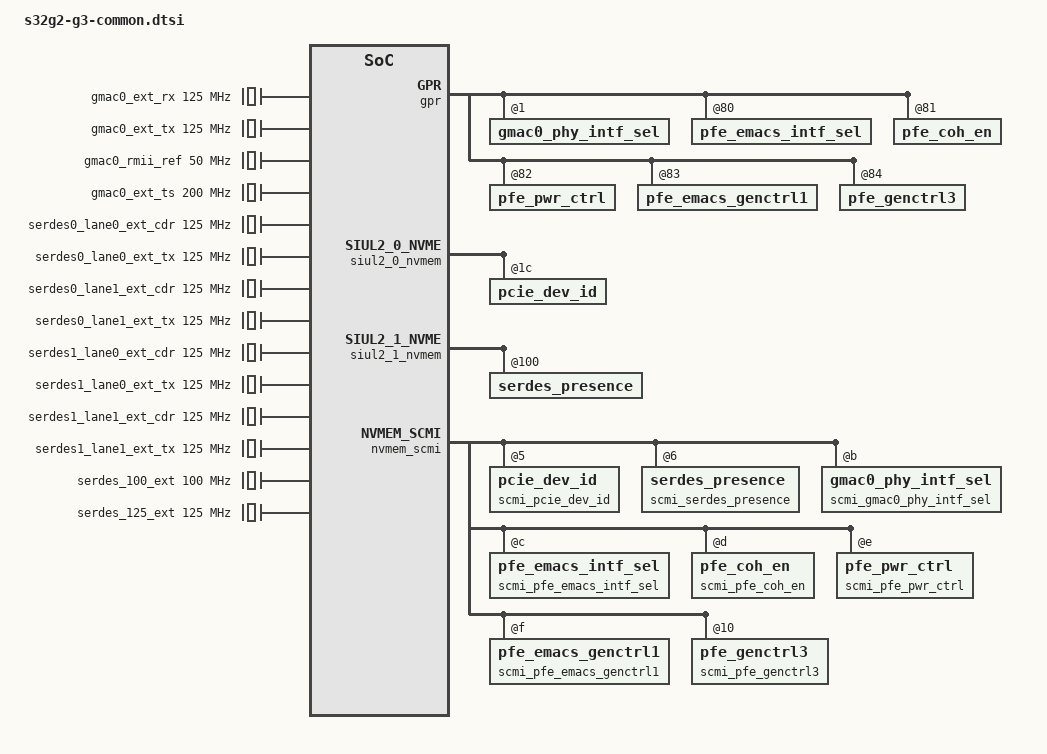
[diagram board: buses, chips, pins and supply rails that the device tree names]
// SPDX-License-Identifier: (GPL-2.0+ OR BSD-3-Clause)
/*
 * Umbrella device tree for S32G2 and S32G3 SoCs.
 *
 * It gathers the PCIe, SerDes and GMAC definitions that are common to
 * S32G2/S32G3 (and, replicated separately, S32R45/S32R47) but are not
 * present on S32G1. This allows S32G1 to include s32g.dtsi (and s32cc.dtsi)
 * without inheriting these unused peripherals.
 *
 * Copyright 2026 NXP
 */
#include <dt-bindings/nvmem/s32g2-g3-common-siul2-nvmem.h>
#include <dt-bindings/phy/phy.h>
#include <dt-bindings/reset/s32g2-g3-common-scmi-reset.h>

#include "s32g.dtsi"
/ {
	aliases {
		ethernet0 = &gmac0;
		serdes0 = &serdes0;
		serdes1 = &serdes1;
		pci0 = &pcie0;
		pci1 = &pcie1;
	};

	reserved-memory {
		#address-cells = <2>;
		#size-cells = <2>;
		ranges;

		/* 4Mb shared memory for PCIe shared mem transfers, EP mode */
		pci_shared_memory0: shm@c0000000 {
			compatible = "nxp,s32cc-shm";
			reg = <0x0 0xc0000000 0x0 0x400000>;    /* 4 MB */
			no-map;
		};

		pci_shared_memory1: shm@c0400000 {
			compatible = "nxp,s32cc-shm";
			reg = <0x0 0xc0400000 0x0 0x400000>;    /* 4 MB */
			no-map;
		};

		pfe_reserved: pfe_reserved@83400000 {
			reg = <0 0x83400000 0 0x8000>; /* 32K */
			no-map;
		};
	};

	clocks {
		gmac0_ext_rx: gmac0_ext_rx {
			compatible = "fixed-clock";
			clock-frequency = <125000000>;
			#clock-cells = <1>;
		};

		gmac0_ext_tx: gmac0_ext_tx {
			compatible = "fixed-clock";
			clock-frequency = <125000000>;
			#clock-cells = <1>;
		};

		gmac0_rmii_ref: gmac0_rmii_ref {
			compatible = "fixed-clock";
			clock-frequency = <50000000>;
			#clock-cells = <1>;
		};

		gmac0_ext_ts: gmac0_ext_ts {
			compatible = "fixed-clock";
			clock-frequency = <200000000>;
			#clock-cells = <1>;
		};

		serdes0_lane0_ext_cdr: serdes0_lane0_ext_cdr {
			compatible = "fixed-clock";
			clock-frequency = <125000000>;
			#clock-cells = <1>;
		};

		serdes0_lane0_ext_tx: serdes0_lane0_ext_tx {
			compatible = "fixed-clock";
			clock-frequency = <125000000>;
			#clock-cells = <1>;
		};

		serdes0_lane1_ext_cdr: serdes0_lane1_ext_cdr {
			compatible = "fixed-clock";
			clock-frequency = <125000000>;
			#clock-cells = <1>;
		};

		serdes0_lane1_ext_tx: serdes0_lane1_ext_tx {
			compatible = "fixed-clock";
			clock-frequency = <125000000>;
			#clock-cells = <1>;
		};

		serdes1_lane0_ext_cdr: serdes1_lane0_ext_cdr {
			compatible = "fixed-clock";
			clock-frequency = <125000000>;
			#clock-cells = <1>;
		};

		serdes1_lane0_ext_tx: serdes1_lane0_ext_tx {
			compatible = "fixed-clock";
			clock-frequency = <125000000>;
			#clock-cells = <1>;
		};

		serdes1_lane1_ext_cdr: serdes1_lane1_ext_cdr {
			compatible = "fixed-clock";
			clock-frequency = <125000000>;
			#clock-cells = <1>;
		};

		serdes1_lane1_ext_tx: serdes1_lane1_ext_tx {
			compatible = "fixed-clock";
			clock-frequency = <125000000>;
			#clock-cells = <1>;
		};

		pfe_mac0_rmii: pfe_mac0_rmii {
			compatible = "fixed-clock";
			/* Dummy frequency to avoid invalid freq when it's set on 0 */
			clock-frequency = <1>;
			#clock-cells = <1>;
		};

		pfe_mac1_rmii: pfe_mac1_rmii {
			compatible = "fixed-clock";
			clock-frequency = <1>;
			#clock-cells = <1>;
		};

		pfe_mac2_rmii: pfe_mac2_rmii {
			compatible = "fixed-clock";
			clock-frequency = <1>;
			#clock-cells = <1>;
		};

		serdes_100_ext: serdes_100_ext {
			compatible = "fixed-clock";
			clock-frequency = <100000000>;
			#clock-cells = <0>;
		};

		serdes_125_ext: serdes_125_ext {
			compatible = "fixed-clock";
			clock-frequency = <125000000>;
			#clock-cells = <0>;
		};
	};

	soc {
		gmac0: ethernet@4033c000 {
			compatible = "nxp,s32cc-dwmac";
			reg = <0x0 0x4033c000 0x0 0x2000>; /* gmac IP */
			interrupt-parent = <&gic>;
			interrupts = <GIC_SPI 57 IRQ_TYPE_LEVEL_HIGH>;
			interrupt-names = "macirq";
			tx-fifo-depth = <20480>;
			rx-fifo-depth = <20480>;
			status = "disabled";
			phy-names = "gmac_xpcs";
			phys = <&serdes0 PHY_TYPE_XPCS 0 0>;
			dma-coherent;
			clocks = <&clks S32CC_SCMI_CLK_GMAC0_AXI>,
				 <&clks S32CC_SCMI_CLK_GMAC0_AXI>,
				 <&clks S32CC_SCMI_CLK_GMAC0_TX_SGMII>,
				 <&clks S32CC_SCMI_CLK_GMAC0_TX_RGMII>,
				 <&clks S32CC_SCMI_CLK_GMAC0_TX_RMII>,
				 <&clks S32CC_SCMI_CLK_GMAC0_TX_MII>,
				 <&clks S32CC_SCMI_CLK_GMAC0_RX_SGMII>,
				 <&clks S32CC_SCMI_CLK_GMAC0_RX_RGMII>,
				 <&clks S32CC_SCMI_CLK_GMAC0_RX_RMII>,
				 <&clks S32CC_SCMI_CLK_GMAC0_RX_MII>,
				 <&clks S32CC_SCMI_CLK_GMAC0_TS>;
			clock-names = "stmmaceth", "pclk",
				      "tx_sgmii", "tx_rgmii",
				      "tx_rmii", "tx_mii",
				      "rx_sgmii", "rx_rgmii",
				      "rx_rmii", "rx_mii",
				      "ptp_ref";
			nvmem-cells = <&gmac0_phy_intf_sel>;
			nvmem-cell-names = "gmac_phy_intf_sel";
			#address-cells = <1>;
			#size-cells = <0>;

			gmac0_mdio: mdio@4033c200 {
				#address-cells = <1>;
				#size-cells = <0>;
				compatible = "snps,dwmac-mdio";
				reg = <0x4033c200>;
			};
		};

		pcie0: pcie@40400000 {
			compatible = "nxp,s32cc-pcie";
			dma-coherent;
			phy-names = "serdes_lane0", "serdes_lane1";
			reg = <0x00 0x40400000 0x0 0x00001000>,   /* dbi registers */
			      <0x00 0x40420000 0x0 0x00001000>,   /* dbi2 registers */
			      <0x00 0x40460000 0x0 0x00001000>,   /* atu registers */
			      <0x00 0x40470000 0x0 0x00001000>,   /* dma registers */
			      <0x00 0x40481000 0x0 0x000000f8>,   /* ctrl registers */
			      /* RC configuration space, 4KB each for cfg0 and cfg1
			       * at the end of the outbound memory map
			       */
			      <0x5f 0xffffe000 0x0 0x00002000>,
			      /* 1GB EP addr space */
			      <0x58 0x00000000 0x0 0x40000000>;
			reg-names = "dbi", "dbi2", "atu", "dma", "ctrl",
				    "config", "addr_space";
			#address-cells = <3>;
			#size-cells = <2>;

			device_type = "pci";
			device_id = <0>;

			nxp,phy-mode = "crns";
			num-lanes = <2>;

			nvmem-cell-names = "serdes_presence", "pcie_dev_id";
			nvmem-cells = <&serdes_presence>, <&pcie_dev_id>;

			/* Root Complex */
			bus-range = <0x0 0xff>;
			ranges =
				/* downstream I/O, 64KB and aligned naturally just
				 * before the config space to minimize fragmentation
				 */
				<0x81000000 0x0 0x00000000 0x5f 0xfffe0000 0x0 0x00010000>,
				/* non-prefetchable memory, with best case size and
				 * alignment
				 */
				<0x82000000 0x0 0x00000000 0x58 0x00000000 0x7 0xfffe0000>;

			interrupts =  <GIC_SPI 124 IRQ_TYPE_LEVEL_HIGH>,
					<GIC_SPI 123 IRQ_TYPE_LEVEL_HIGH>,
					<GIC_SPI 125 IRQ_TYPE_LEVEL_HIGH>,
					<GIC_SPI 126 IRQ_TYPE_LEVEL_HIGH>,
					<GIC_SPI 127 IRQ_TYPE_LEVEL_HIGH>,
					<GIC_SPI 132 IRQ_TYPE_LEVEL_HIGH>,
					<GIC_SPI 133 IRQ_TYPE_LEVEL_HIGH>,
					<GIC_SPI 134 IRQ_TYPE_LEVEL_HIGH>;
			interrupt-names = "link_req_stat", "dma", "msi",
						"phy_link_down", "phy_link_up", "misc",
						"pcs", "tlp_req_no_comp";
			#interrupt-cells = <1>;
			interrupt-map-mask = <0 0 0 0x7>;
			interrupt-map = <0 0 0 1 &gic 0 0 0 128 4>,
						<0 0 0 2 &gic 0 0 0 129 4>,
						<0 0 0 3 &gic 0 0 0 130 4>,
						<0 0 0 4 &gic 0 0 0 131 4>;
			msi-parent = <&gic>;

			/* End Point */
			shared-mem = <&pci_shared_memory0>;
			auto-config-bars;

			/* PCIe uses Serdes0 lanes 0 and 1 */
			phys = <&serdes0 0x02 0x00 XPCS_LANE0 &serdes0 0x02 0x00 XPCS_LANE1>;

			status = "disabled";
		};

		serdes0: serdes@40480000 {
			#phy-cells = <3>;
			compatible = "nxp,s32cc-serdes";
			clocks = <&clks S32CC_SCMI_CLK_SERDES_AXI>,
				 <&clks S32CC_SCMI_CLK_SERDES_AUX>,
				 <&clks S32CC_SCMI_CLK_SERDES_APB>,
				 <&clks S32CC_SCMI_CLK_SERDES_REF>;
			clock-names = "axi", "aux", "apb", "ref";
			resets = <&reset S32CC_SCMI_RST_SERDES0>,
				 <&reset S32CC_SCMI_RST_PCIE0>;
			reset-names = "serdes", "pcie";
			nxp,sys-mode = <0x0>;
			reg = <0x0 0x40480000 0x0 0x108>,
			      <0x0 0x40483008 0x0 0x10>,
			      <0x0 0x40482000 0x0 0x800>,
			      <0x0 0x40482800 0x0 0x800>;
			reg-names = "ss_pcie", "pcie_phy", "xpcs0", "xpcs1";
			status = "disabled";
		};

		pcie1: pcie@44100000 {
			compatible = "nxp,s32cc-pcie";
			dma-coherent;
			reg = <0x00 0x44100000 0x0 0x00001000>,   /* dbi registers */
			      <0x00 0x44120000 0x0 0x00001000>,   /* dbi2 registers */
			      <0x00 0x44160000 0x0 0x00001000>,   /* atu registers */
			      <0x00 0x44170000 0x0 0x00001000>,   /* dma registers */
			      <0x00 0x44181000 0x0 0x000000f8>,   /* ctrl registers */
			      /* RC configuration space, 4KB each for cfg0 and cfg1
			       * at the end of the outbound memory map
			       */
			      <0x4f 0xffffe000 0x0 0x00002000>,
			      /* 1GB EP addr space */
			      <0x48 0x00000000 0x0 0x40000000>;
			reg-names = "dbi", "dbi2", "atu", "dma", "ctrl",
				    "config", "addr_space";
			#address-cells = <3>;
			#size-cells = <2>;

			device_type = "pci";
			device_id = <1>;

			nxp,phy-mode = "crns";
			num-lanes = <1>;

			nvmem-cell-names = "serdes_presence", "pcie_dev_id";
			nvmem-cells = <&serdes_presence>, <&pcie_dev_id>;

			/* Root Complex */
			bus-range = <0x0 0xff>;
			ranges =
				/* downstream I/O, 64KB and aligned naturally just
				 * before the config space to minimize fragmentation
				 */
				<0x81000000 0x0 0x00000000 0x4f 0xfffe0000 0x0 0x00010000>,
				/* non-prefetchable memory, with best case size and
				 * alignment
				 */
				<0x82000000 0x0 0x00000000 0x48 0x00000000 0x7 0xfffe0000>;

			/* End Point */
			shared-mem = <&pci_shared_memory1>;
			auto-config-bars;

			status = "disabled";
		};

		serdes1: serdes@44180000 {
			#phy-cells = <3>;
			compatible = "nxp,s32cc-serdes";
			clocks = <&clks S32CC_SCMI_CLK_SERDES_AXI>,
				 <&clks S32CC_SCMI_CLK_SERDES_AUX>,
				 <&clks S32CC_SCMI_CLK_SERDES_APB>,
				 <&clks S32CC_SCMI_CLK_SERDES_REF>;
			clock-names = "axi", "aux", "apb", "ref";
			resets = <&reset S32CC_SCMI_RST_SERDES1>,
				 <&reset S32CC_SCMI_RST_PCIE1>;
			reset-names = "serdes", "pcie";
			nxp,sys-mode = <4>;
			reg = <0x0 0x44180000 0x0 0x108>,
			      <0x0 0x44183008 0x0 0x10>,
			      <0x0 0x44182000 0x0 0x800>,
			      <0x0 0x44182800 0x0 0x800>;
			reg-names = "ss_pcie", "pcie_phy", "xpcs0", "xpcs1";
			status = "disabled";
		};

		mc_cgm2: mc_cgm2@44018000 {
			compatible = "nxp,s32cc-mc_cgm2";
			reg = <0x0 0x44018000 0x0 0x3000>;

			assigned-clocks =
				<&plat_clks S32G_CLK_MC_CGM2_MUX0>,
				<&plat_clks S32G_CLK_PFE_PE>;
			assigned-clock-rates =
				<0>,
				<600000000>;
			assigned-clock-parents =
				<&plat_clks S32G_CLK_ACCEL_PLL_PHI1>;
		};
	};
};

&gpr {
	gmac0_phy_intf_sel: gmac0_phy_intf_sel@1 {
		reg = <S32CC_GPR_GMAC0_PHY_INTF_SEL_OFFSET
		       S32CC_GPR_CELL_SIZE>;
	};
};

&siul2_0_nvmem {
	pcie_dev_id: pcie_dev_id@1c {
		reg = <S32CC_OVERWRITE_PCIE_DEV_ID
		    S32CC_CELL_SIZE>;
	};
};

&siul2_1_nvmem {
	serdes_presence: serdes_presence@100 {
		reg = <S32CC_SERDES_PRESENCE S32CC_CELL_SIZE>;
	};
};

&gmac0 {
	pinctrl-0 = <&gmac0_pins &gmac0_mdio_pins &gmac0_rgmii_pins>;
	pinctrl-1 = <&gmac0_mdio_pins>;
	pinctrl-2 = <&gmac0_pins &gmac0_mdio_pins &gmac0_rmii_pins>;
	pinctrl-3 = <&gmac0_pins &gmac0_mdio_pins &gmac0_mii_pins>;
	pinctrl-names = "gmac_rgmii", "gmac_sgmii", "gmac_rmii", "gmac_mii";
};

&pcie0 {
	link-speed = <3>; /* Gen3 */
};

&pcie1 {
	link-speed = <2>; /* Gen2 */
};

&serdes1 {
	num-lanes = <2>;
};

&plat_clks {
	assigned-clocks =
		<&plat_clks S32CC_CLK_FXOSC>,
		<&plat_clks S32CC_CLK_FIRC>,
		<&plat_clks S32CC_CLK_SIRC>,
		<&plat_clks S32CC_CLK_GMAC0_EXT_TX>,
		<&plat_clks S32CC_CLK_GMAC0_EXT_RX>,
		<&plat_clks S32CC_CLK_GMAC0_RMII_REF>,
		<&plat_clks S32G_CLK_SERDES1_LANE0_TX>,
		<&plat_clks S32G_CLK_SERDES1_LANE0_CDR>,
		<&plat_clks S32G_CLK_SERDES1_LANE1_TX>,
		<&plat_clks S32G_CLK_SERDES1_LANE1_CDR>,
		<&plat_clks S32CC_CLK_SERDES0_LANE0_TX>,
		<&plat_clks S32CC_CLK_SERDES0_LANE0_CDR>,
		<&plat_clks S32G_CLK_SERDES0_LANE1_TX>,
		<&plat_clks S32G_CLK_SERDES0_LANE1_CDR>,
		<&plat_clks S32G_CLK_PFE_MAC0_RMII_REF>,
		<&plat_clks S32G_CLK_PFE_MAC1_RMII_REF>,
		<&plat_clks S32G_CLK_PFE_MAC2_RMII_REF>,
		<&plat_clks S32CC_CLK_SERDES_REF>;
	assigned-clock-parents =
		<&fxosc 0>,
		<&firc 0>,
		<&sirc 0>,
		<&gmac0_ext_tx 0>,
		<&gmac0_ext_rx 0>,
		<&gmac0_rmii_ref 0>,
		<&serdes1_lane0_ext_tx 0>,
		<&serdes1_lane0_ext_cdr 0>,
		<&serdes1_lane1_ext_tx 0>,
		<&serdes1_lane1_ext_cdr 0>,
		<&serdes0_lane0_ext_tx 0>,
		<&serdes0_lane0_ext_cdr 0>,
		<&serdes0_lane1_ext_tx 0>,
		<&serdes0_lane1_ext_cdr 0>,
		<&pfe_mac0_rmii 0>,
		<&pfe_mac1_rmii 0>,
		<&pfe_mac2_rmii 0>;
	assigned-clock-rates =
		<0>, <0>, <0>, <0>,
		<0>, <0>, <0>, <0>,
		<0>, <0>, <0>, <0>,
		<0>, <0>, <0>, <0>,
		<0>, <100000000>;
};

&mc_cgm0 {
	assigned-clocks =
		<&plat_clks S32CC_CLK_MC_CGM0_MUX0>,
		<&plat_clks S32CC_CLK_MC_CGM0_MUX1>,
		<&plat_clks S32CC_CLK_MC_CGM0_MUX2>,
		<&plat_clks S32CC_CLK_MC_CGM0_MUX3>,
		<&plat_clks S32CC_CLK_MC_CGM0_MUX4>,
		<&plat_clks S32CC_CLK_MC_CGM0_MUX5>,
		<&plat_clks S32CC_CLK_MC_CGM0_MUX7>,
		<&plat_clks S32CC_CLK_MC_CGM0_MUX8>,
		<&plat_clks S32CC_CLK_MC_CGM0_MUX9>,
		<&plat_clks S32CC_CLK_MC_CGM0_MUX10>,
		<&plat_clks S32CC_CLK_MC_CGM0_MUX12>,
		<&plat_clks S32CC_CLK_MC_CGM0_MUX14>,
		<&plat_clks S32CC_CLK_MC_CGM0_MUX16>,
		<&plat_clks S32CC_CLK_XBAR_2X>,
		<&plat_clks S32CC_CLK_PER>,
		<&plat_clks S32CC_CLK_FTM0_REF>,
		<&plat_clks S32CC_CLK_FTM1_REF>,
		<&plat_clks S32CC_CLK_CAN_PE>,
		<&plat_clks S32CC_CLK_LIN_BAUD>,
		<&plat_clks S32CC_CLK_GMAC0_TS>,
		<&plat_clks S32CC_CLK_SPI>,
		<&plat_clks S32CC_CLK_SDHC>,
		<&plat_clks S32CC_CLK_QSPI_2X>;
	assigned-clock-parents =
		<&plat_clks S32CC_CLK_ARM_PLL_DFS1>,
		<&plat_clks S32CC_CLK_PERIPH_PLL_PHI0>,
		<&plat_clks S32CC_CLK_FXOSC>,
		<&plat_clks S32CC_CLK_PERIPH_PLL_PHI1>,
		<&plat_clks S32CC_CLK_PERIPH_PLL_PHI1>,
		<&plat_clks S32CC_CLK_PERIPH_PLL_PHI1>,
		<&plat_clks S32CC_CLK_PERIPH_PLL_PHI2>,
		<&plat_clks S32CC_CLK_PERIPH_PLL_PHI3>,
		<&plat_clks S32CC_CLK_PERIPH_PLL_PHI4>,
		<&plat_clks S32CC_CLK_PERIPH_PLL_PHI5>,
		<&plat_clks S32CC_CLK_PERIPH_PLL_DFS1>,
		<&plat_clks S32CC_CLK_PERIPH_PLL_DFS3>,
		<&plat_clks S32CC_CLK_PERIPH_PLL_PHI7>;
	assigned-clock-rates =
		<0>,
		<0>,
		<0>,
		<0>,
		<0>,
		<0>,
		<0>,
		<0>,
		<0>,
		<0>,
		<0>,
		<0>,
		<0>,
		<0>,
		<80000000>,
		<40000000>,
		<40000000>,
		<80000000>,
		<125000000>,
		<200000000>,
		<100000000>,
		<400000000>,
		<S32CC_QSPI_2X_CLK_FREQ>;
};

&nvmem_scmi {
	nvmem-cells = <&scmi_soc_letter>, <&scmi_part_no>,
		      <&scmi_soc_major>, <&scmi_soc_minor>,
		      <&scmi_core_max_freq>,
		      <&scmi_pcie_dev_id>,
		      <&scmi_serdes_presence>,
		      <&scmi_soc_subminor>,
		      <&scmi_reset_cause>,
		      <&scmi_lockstep_enabled>,
		      <&scmi_ddr_pmu_irq>,
		      <&scmi_gmac0_phy_intf_sel>,
		      <&scmi_pfe_emacs_intf_sel>,
		      <&scmi_pfe_coh_en>,
		      <&scmi_pfe_pwr_ctrl>,
		      <&scmi_pfe_emacs_genctrl1>,
		      <&scmi_pfe_genctrl3>,
		      <&scmi_ddr_ret_ctrl>,
		      <&scmi_ddr_mem_ret>;
	nvmem-cell-names = "soc_letter", "part_no",
			   "soc_major", "soc_minor",
			   "core_max_freq",
			   "pcie_dev_id",
			   "serdes_presence",
			   "soc_subminor",
			   "reset_cause",
			   "lockstep_enabled",
			   "ddr_pmu_irq",
			   "gmac_phy_intf_sel",
			   "pfe_emacs_intf_sel",
			   "pfe_coh_en",
			   "pfe_pwr_ctrl",
			   "pfe_emacs_genctrl1",
			   "pfe_genctrl3",
			   "ddr_ret_ctrl",
			   "ddr_mem_ret";

	scmi_pcie_dev_id: pcie_dev_id@5 {
		reg = <S32CC_SCMI_NVMEM_PCIE_DEV_ID
			S32CC_SCMI_NVMEM_CELL_SIZE>;
		immutable;
	};

	scmi_serdes_presence: serdes_presence@6 {
		reg = <S32CC_SCMI_NVMEM_SERDES_PRESENCE
			S32CC_SCMI_NVMEM_CELL_SIZE>;
		immutable;
	};

	scmi_gmac0_phy_intf_sel: gmac0_phy_intf_sel@b {
		reg = <S32CC_SCMI_NVMEM_GMAC0_PHY_INTF_SEL
			S32CC_SCMI_NVMEM_CELL_SIZE>;
	};

	scmi_pfe_emacs_intf_sel: pfe_emacs_intf_sel@c {
		reg = <S32CC_SCMI_NVMEM_PFE_EMACS_INTF_SEL
			S32CC_SCMI_NVMEM_CELL_SIZE>;
	};

	scmi_pfe_coh_en: pfe_coh_en@d {
		reg = <S32CC_SCMI_NVMEM_PFE_COH_EN
			S32CC_SCMI_NVMEM_CELL_SIZE>;
	};

	scmi_pfe_pwr_ctrl: pfe_pwr_ctrl@e {
		reg = <S32CC_SCMI_NVMEM_PFE_PWR_CTRL
			S32CC_SCMI_NVMEM_CELL_SIZE>;
	};

	scmi_pfe_emacs_genctrl1: pfe_emacs_genctrl1@f {
		reg = <S32CC_SCMI_NVMEM_PFE_EMACS_GENCTRL1
			S32CC_SCMI_NVMEM_CELL_SIZE>;
	};

	scmi_pfe_genctrl3: pfe_genctrl3@10 {
		reg = <S32CC_SCMI_NVMEM_PFE_GENCTRL3
			S32CC_SCMI_NVMEM_CELL_SIZE>;
	};
};

&pinctrl {
	gmac0_mdio_pins: gmac0_mdio {
		gmac0_mdio_grp0 {
			pinmux = <S32CC_PINMUX(60, FUNC1)>;
			output-enable;
			slew-rate = <S32CC_FAST_SLEW_166MHZ>;
		};

		gmac0_mdio_grp1 {
			pinmux = <S32CC_PINMUX(61, FUNC1)>;
			drive-open-drain;
			output-enable;
			input-enable;
			slew-rate = <S32CC_FAST_SLEW_166MHZ>;
		};

		gmac0_mdio_grp2 {
			pinmux = <S32CC_PINMUX(527, FUNC2)>;
		};

	};

	gmac0_pins: gmac0 {
		gmac0_grp1 {
			pinmux = <S32CC_PINMUX(67, FUNC1)>,
				 <S32CC_PINMUX(68, FUNC1)>,
				 <S32CC_PINMUX(69, FUNC1)>,
				 <S32CC_PINMUX(70, FUNC1)>,
				 <S32CC_PINMUX(71, FUNC1)>;
			output-enable;
			slew-rate = <S32CC_FAST_SLEW_166MHZ>;
		};

		gmac0_grp2 {
			pinmux = <S32CC_PINMUX(72, FUNC0)>,
				 <S32CC_PINMUX(73, FUNC0)>,
				 <S32CC_PINMUX(74, FUNC0)>,
				 <S32CC_PINMUX(75, FUNC0)>,
				 <S32CC_PINMUX(76, FUNC0)>,
				 <S32CC_PINMUX(77, FUNC0)>;
			input-enable;
			slew-rate = <S32CC_FAST_SLEW_166MHZ>;
		};

		gmac0_grp3 {
			pinmux = <S32CC_PINMUX(538, FUNC2)>,
				 <S32CC_PINMUX(529, FUNC2)>,
				 <S32CC_PINMUX(530, FUNC2)>,
				 <S32CC_PINMUX(531, FUNC2)>,
				 <S32CC_PINMUX(532, FUNC2)>,
				 <S32CC_PINMUX(533, FUNC2)>,
				 <S32CC_PINMUX(534, FUNC2)>,
				 <S32CC_PINMUX(535, FUNC2)>;
		};
	};

	gmac0_rgmii_pins: gmac0_rgmii {
		gmac0_rgmii_grp0 {
			pinmux = <S32CC_PINMUX(66, FUNC1)>;
			output-enable;
			slew-rate = <S32CC_FAST_SLEW_166MHZ>;
			bias-pull-up;
		};
	};

	gmac0_rmii_pins: gmac0_rmii {
		gmac0_rmii_grp0 {
			pinmux = <S32CC_PINMUX(71, FUNC2)>;
			input-enable;
			slew-rate = <S32CC_FAST_SLEW_166MHZ>;
			bias-pull-up;
		};
	};

	gmac0_mii_pins: gmac0_mii {
		gmac0_mii_grp0 {
			pinmux = <S32CC_PINMUX(66, FUNC1)>;
			input-enable;
			slew-rate = <S32CC_FAST_SLEW_166MHZ>;
			bias-pull-up;
		};
	};

	pfe0_mdio_pins: pfe0_mdio {
		pfe0_mdio_grp0 {
			pinmux = <S32CC_PINMUX(79, FUNC1)>;
			drive-open-drain;
			output-enable;
			input-enable;
			slew-rate = <S32CC_FAST_SLEW_166MHZ>;
		};

		pfe0_mdio_grp1 {
			pinmux = <S32CC_PINMUX(82, FUNC1)>;
			output-enable;
			slew-rate = <S32CC_FAST_SLEW_166MHZ>;
		};

		pfe0_mdio_grp2 {
			pinmux = <S32CC_PINMUX(837, FUNC2)>;
		};

	};

	pfe0_pins: pfe0 {
		pfe0_grp0 {
			pinmux = <S32CC_PINMUX(78, FUNC1)>,
				 <S32CC_PINMUX(113, FUNC1)>,
				 <S32CC_PINMUX(114, FUNC1)>,
				 <S32CC_PINMUX(115, FUNC1)>,
				 <S32CC_PINMUX(144, FUNC1)>;
			output-enable;
			slew-rate = <S32CC_FAST_SLEW_166MHZ>;
		};

		pfe0_grp1 {
			pinmux = <S32CC_PINMUX(116, FUNC0)>,
				 <S32CC_PINMUX(117, FUNC0)>,
				 <S32CC_PINMUX(118, FUNC0)>,
				 <S32CC_PINMUX(119, FUNC0)>,
				 <S32CC_PINMUX(120, FUNC0)>,
				 <S32CC_PINMUX(121, FUNC0)>;
			input-enable;
			slew-rate = <S32CC_FAST_SLEW_166MHZ>;
		};

		pfe0_grp2 {
			pinmux = <S32CC_PINMUX(122, FUNC1)>;
			output-enable;
			slew-rate = <S32CC_FAST_SLEW_166MHZ>;
			bias-pull-up;
		};

		pfe0_grp3 {
			pinmux = <S32CC_PINMUX(839, FUNC2)>,
				 <S32CC_PINMUX(845, FUNC2)>,
				 <S32CC_PINMUX(841, FUNC2)>,
				 <S32CC_PINMUX(842, FUNC2)>,
				 <S32CC_PINMUX(843, FUNC2)>,
				 <S32CC_PINMUX(844, FUNC2)>;
		};

	};

	pfe1_mdio_pins: pfe1_mdio {
		pfe1_mdio_grp0 {
			pinmux = <S32CC_PINMUX(60, FUNC2)>;
			output-enable;
			slew-rate = <S32CC_FAST_SLEW_166MHZ>;
		};

		pfe1_mdio_grp1 {
			pinmux = <S32CC_PINMUX(61, FUNC2)>;
			drive-open-drain;
			output-enable;
			input-enable;
			slew-rate = <S32CC_FAST_SLEW_166MHZ>;
		};

		pfe1_mdio_grp2 {
			pinmux = <S32CC_PINMUX(857, FUNC2)>;
		};

	};

	pfe1_pins: pfe1 {
		pfe1_grp0 {
			pinmux = <S32CC_PINMUX(66, FUNC2)>;
			output-enable;
			slew-rate = <S32CC_FAST_SLEW_166MHZ>;
			bias-pull-up;
		};

		pfe1_grp1 {
			pinmux = <S32CC_PINMUX(67, FUNC2)>,
				 <S32CC_PINMUX(68, FUNC2)>,
				 <S32CC_PINMUX(69, FUNC2)>,
				 <S32CC_PINMUX(70, FUNC2)>;
			output-enable;
			slew-rate = <S32CC_FAST_SLEW_166MHZ>;
		};

		pfe1_grp2 {
			pinmux = <S32CC_PINMUX(71, FUNC3)>;
			output-enable;
			slew-rate = <S32CC_FAST_SLEW_166MHZ>;
		};

		pfe1_grp3 {
			pinmux = <S32CC_PINMUX(72, FUNC0)>,
				 <S32CC_PINMUX(73, FUNC0)>,
				 <S32CC_PINMUX(74, FUNC0)>,
				 <S32CC_PINMUX(75, FUNC0)>,
				 <S32CC_PINMUX(76, FUNC0)>,
				 <S32CC_PINMUX(77, FUNC0)>;
			input-enable;
			slew-rate = <S32CC_FAST_SLEW_166MHZ>;
		};

		pfe1_grp4 {
			pinmux = <S32CC_PINMUX(859, FUNC2)>,
				 <S32CC_PINMUX(865, FUNC2)>,
				 <S32CC_PINMUX(861, FUNC2)>,
				 <S32CC_PINMUX(862, FUNC2)>,
				 <S32CC_PINMUX(863, FUNC2)>,
				 <S32CC_PINMUX(864, FUNC2)>;
		};

	};

	pfe2_mdio_pins: pfe2_mdio {
		pfe2_mdio_grp0 {
			pinmux = <S32CC_PINMUX(79, FUNC2)>;
			drive-open-drain;
			output-enable;
			input-enable;
			slew-rate = <S32CC_FAST_SLEW_166MHZ>;
		};

		pfe2_mdio_grp1 {
			pinmux = <S32CC_PINMUX(82, FUNC2)>;
			output-enable;
			slew-rate = <S32CC_FAST_SLEW_166MHZ>;
		};

		pfe2_mdio_grp2 {
			pinmux = <S32CC_PINMUX(877, FUNC3)>;
		};

	};

	pfe2_pins: pfe2 {
		pfe2_grp0 {
			pinmux = <S32CC_PINMUX(78, FUNC2)>,
				 <S32CC_PINMUX(113, FUNC2)>,
				 <S32CC_PINMUX(114, FUNC2)>,
				 <S32CC_PINMUX(115, FUNC2)>,
				 <S32CC_PINMUX(144, FUNC2)>;
			output-enable;
			slew-rate = <S32CC_FAST_SLEW_166MHZ>;
		};

		pfe2_grp1 {
			pinmux = <S32CC_PINMUX(116, FUNC0)>,
				 <S32CC_PINMUX(117, FUNC0)>,
				 <S32CC_PINMUX(118, FUNC0)>,
				 <S32CC_PINMUX(119, FUNC0)>,
				 <S32CC_PINMUX(120, FUNC0)>,
				 <S32CC_PINMUX(121, FUNC0)>;
			input-enable;
			slew-rate = <S32CC_FAST_SLEW_166MHZ>;
		};

		pfe2_grp2 {
			pinmux = <S32CC_PINMUX(122, FUNC2)>;
			output-enable;
			slew-rate = <S32CC_FAST_SLEW_166MHZ>;
			bias-pull-up;
		};

		pfe2_grp3 {
			pinmux = <S32CC_PINMUX(879, FUNC3)>,
				 <S32CC_PINMUX(885, FUNC3)>,
				 <S32CC_PINMUX(881, FUNC3)>,
				 <S32CC_PINMUX(882, FUNC3)>,
				 <S32CC_PINMUX(883, FUNC3)>,
				 <S32CC_PINMUX(884, FUNC3)>;
		};
	};
};

&gpr {
	pfe_emacs_intf_sel: pfe_emacs_intf_sel@80 {
		reg = <S32G_GPR_PFE_EMACS_INTF_SEL_OFFSET
			S32G_GPR_CELL_SIZE>;
	};
	pfe_coh_en: pfe_coh_en@81 {
		reg = <S32G_GPR_PFE_COH_EN_OFFSET
			S32G_GPR_CELL_SIZE>;
	};
	pfe_pwr_ctrl: pfe_pwr_ctrl@82 {
		reg = <S32G_GPR_PFE_PWR_CTRL_OFFSET
			S32G_GPR_CELL_SIZE>;
	};
	pfe_emacs_genctrl1: pfe_emacs_genctrl1@83 {
		reg = <S32G_GPR_PFE_EMACS_GENCTRL1_OFFSET
			S32G_GPR_CELL_SIZE>;
	};
	pfe_genctrl3: pfe_genctrl3@84 {
		reg = <S32G_GPR_PFE_GENCTRL3_OFFSET
			S32G_GPR_CELL_SIZE>;
	};
};

